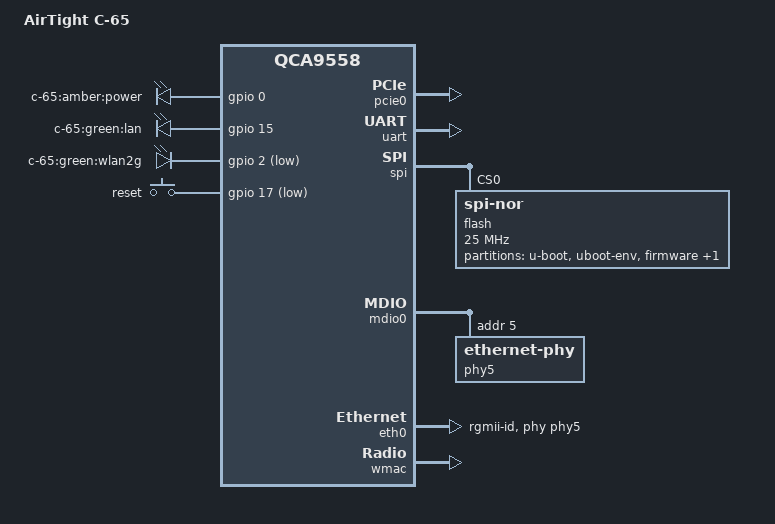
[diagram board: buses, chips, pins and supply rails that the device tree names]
// SPDX-License-Identifier: GPL-2.0-or-later OR MIT

/dts-v1/;

#include <dt-bindings/gpio/gpio.h>
#include <dt-bindings/input/input.h>

#include "qca9557.dtsi"

/ {
	model = "AirTight C-65";
	compatible = "airtight,c-65", "qca,qca9558";

	chosen {
		bootargs = "console=ttyS0,115200";
	};

	aliases {
		led-boot = &power_amber;
		led-failsafe = &power_amber;
		led-upgrade = &power_amber;
	};

	leds {
		compatible = "gpio-leds";

		power_amber: power_amber {
			label = "c-65:amber:power";
			gpios = <&gpio 0 GPIO_ACTIVE_HIGH>;
		};

		lan {
			label = "c-65:green:lan";
			gpios = <&gpio 15 GPIO_ACTIVE_HIGH>;
		};

		wlan2g {
			label = "c-65:green:wlan2g";
			gpios = <&gpio 2 GPIO_ACTIVE_LOW>;
			linux,default-trigger = "phy1tpt";
		};
	};

	keys {
		compatible = "gpio-keys";

		button0 {
			label = "reset";
			linux,code = <KEY_RESTART>;
			gpios = <&gpio 17 GPIO_ACTIVE_LOW>;
		};
	};
 };

&pcie0 {
	status = "okay";
};

&uart {
	status = "okay";
};

&spi {
	status = "okay";
	num-cs = <1>;

	flash@0 {
		compatible = "jedec,spi-nor";
		reg = <0>;
		spi-max-frequency = <25000000>;

		partitions {
			compatible = "fixed-partitions";
			#address-cells = <1>;
			#size-cells = <1>;

			uboot: partition@0 {
				label = "u-boot";
				reg = <0x000000 0x040000>;
				read-only;
			};

			partition@40000 {
				label = "uboot-env";
				reg = <0x040000 0x020000>;
			};

			partition@60000  {
				label = "firmware";
				reg = <0x060000 0xf90000>;
				compatible = "denx,uimage";
			};

			art: partition@ff0000 {
				label = "art";
				reg = <0xff0000 0x010000>;
				read-only;
			};
		};
	};
};

&mdio0 {
	status = "okay";

	phy5: ethernet-phy@5 {
		reg = <5>;
		at803x-disable-smarteee;
	};
};

&eth0 {
	status = "okay";

	mtd-mac-address = <&art 0x00>;
	pll-data = <0x82000101 0x80000101 0x80001313>;
	phy-handle = <&phy5>;
	phy-mode = "rgmii-id";

	gmac-config {
		device = <&gmac>;

		rxdv-delay = <3>;
		rxd-delay = <3>;
		txen-delay = <0>;
		txd-delay = <0>;
		rgmii-enabled = <1>;
	};
};

&uart {
	status = "okay";
};

&wmac {
	status = "okay";
	mtd-cal-data = <&art 0x1000>;
	mtd-mac-address = <&art 0x0>;

};
